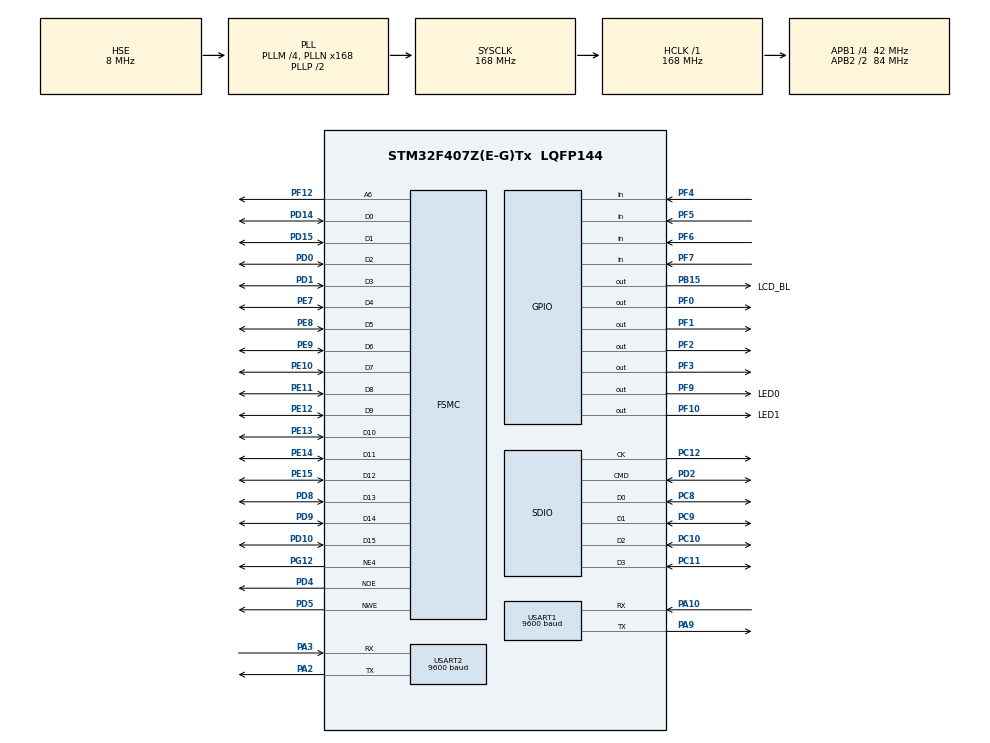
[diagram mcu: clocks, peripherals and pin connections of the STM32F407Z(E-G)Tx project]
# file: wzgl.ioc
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Dma.Request0=SDIO_RX
Dma.Request1=SDIO_TX
Dma.SDIO_RX.0.Direction=DMA_PERIPH_TO_MEMORY
Dma.SDIO_RX.0.FIFOMode=DMA_FIFOMODE_ENABLE
Dma.SDIO_RX.0.FIFOThreshold=DMA_FIFO_THRESHOLD_FULL
Dma.SDIO_RX.0.Instance=DMA2_Stream3
Dma.SDIO_RX.0.MemBurst=DMA_MBURST_SINGLE
Dma.SDIO_RX.0.MemDataAlignment=DMA_MDATAALIGN_BYTE
Dma.SDIO_RX.0.MemInc=DMA_MINC_ENABLE
Dma.SDIO_RX.0.Mode=DMA_PFCTRL
Dma.SDIO_RX.0.PeriphBurst=DMA_PBURST_INC4
Dma.SDIO_RX.0.PeriphDataAlignment=DMA_PDATAALIGN_WORD
Dma.SDIO_RX.0.PeriphInc=DMA_PINC_DISABLE
Dma.SDIO_RX.0.Priority=DMA_PRIORITY_LOW
Dma.SDIO_TX.1.Direction=DMA_MEMORY_TO_PERIPH
Dma.SDIO_TX.1.FIFOMode=DMA_FIFOMODE_ENABLE
Dma.SDIO_TX.1.FIFOThreshold=DMA_FIFO_THRESHOLD_FULL
Dma.SDIO_TX.1.Instance=DMA2_Stream6
Dma.SDIO_TX.1.MemBurst=DMA_MBURST_SINGLE
Dma.SDIO_TX.1.MemDataAlignment=DMA_MDATAALIGN_BYTE
Dma.SDIO_TX.1.MemInc=DMA_MINC_ENABLE
Dma.SDIO_TX.1.Mode=DMA_PFCTRL
Dma.SDIO_TX.1.PeriphBurst=DMA_PBURST_INC4
Dma.SDIO_TX.1.PeriphDataAlignment=DMA_PDATAALIGN_WORD
Dma.SDIO_TX.1.PeriphInc=DMA_PINC_DISABLE
Dma.SDIO_TX.1.Priority=DMA_PRIORITY_LOW
FATFS.USE_DMA_CODE_SD=1
FATFS._CODE_PAGE=936
FATFS._USE_LFN=3
FSMC.BusTurnAroundDuration1=0
FSMC.DataSetupTime1=60
FSMC.ExtendedAddressSetupTime1=9
FSMC.ExtendedBusTurnAroundDuration1=0
FSMC.ExtendedDataSetupTime1=8
FSMC.ExtendedMode1=FSMC_EXTENDED_MODE_ENABLE
Mcu.Family=STM32F4
Mcu.Name=STM32F407Z(E-G)Tx
Mcu.Package=LQFP144
NVIC.DMA2_Stream3_IRQn=true\:1\:0\:true\:false\:true\:false\:true\:true
NVIC.DMA2_Stream6_IRQn=true\:1\:0\:true\:false\:true\:false\:true\:true
NVIC.PriorityGroup=NVIC_PRIORITYGROUP_2
NVIC.USART1_IRQn=true\:2\:2\:true\:false\:true\:true\:true\:true
NVIC.USART2_IRQn=true\:2\:2\:true\:false\:true\:true\:true\:true
PA10.Mode=Asynchronous
PA10.Signal=USART1_RX
PA13.Mode=Serial_Wire
PA13.Signal=SYS_JTMS-SWDIO
PA14.Mode=Serial_Wire
PA14.Signal=SYS_JTCK-SWCLK
PA2.Mode=Asynchronous
PA2.Signal=USART2_TX
PA3.Mode=Asynchronous
PA3.Signal=USART2_RX
PA9.Mode=Asynchronous
PA9.Signal=USART1_TX
PB15.GPIO_Label=LCD_BL
PB15.GPIO_PuPd=GPIO_PULLUP
PB15.GPIO_Speed=GPIO_SPEED_FREQ_HIGH
PB15.Signal=GPIO_Output
PC10.Mode=SD_4_bits_Wide_bus
PC10.Signal=SDIO_D2
PC11.Mode=SD_4_bits_Wide_bus
PC11.Signal=SDIO_D3
PC12.Mode=SD_4_bits_Wide_bus
PC12.Signal=SDIO_CK
PC8.Mode=SD_4_bits_Wide_bus
PC8.Signal=SDIO_D0
PC9.Mode=SD_4_bits_Wide_bus
PC9.Signal=SDIO_D1
PD0.Signal=FSMC_D2_DA2
PD1.Signal=FSMC_D3_DA3
PD10.Signal=FSMC_D15_DA15
PD14.Signal=FSMC_D0_DA0
PD15.Signal=FSMC_D1_DA1
PD2.Mode=SD_4_bits_Wide_bus
PD2.Signal=SDIO_CMD
PD4.Signal=FSMC_NOE
PD5.Signal=FSMC_NWE
PD8.Signal=FSMC_D13_DA13
PD9.Signal=FSMC_D14_DA14
PE10.Signal=FSMC_D7_DA7
PE11.Signal=FSMC_D8_DA8
PE12.Signal=FSMC_D9_DA9
PE13.Signal=FSMC_D10_DA10
PE14.Signal=FSMC_D11_DA11
PE15.Signal=FSMC_D12_DA12
PE7.Signal=FSMC_D4_DA4
PE8.Signal=FSMC_D5_DA5
PE9.Signal=FSMC_D6_DA6
PF0.GPIO_ModeDefaultOutputPP=GPIO_MODE_OUTPUT_PP
PF0.Signal=GPIO_Output
PF1.Signal=GPIO_Output
PF10.GPIO_Label=LED1
PF10.PinState=GPIO_PIN_SET
PF10.Signal=GPIO_Output
PF12.Signal=FSMC_A6
PF2.Signal=GPIO_Output
PF3.Signal=GPIO_Output
PF4.GPIO_PuPd=GPIO_PULLDOWN
PF4.Signal=GPIO_Input
PF5.GPIO_PuPd=GPIO_PULLDOWN
PF5.Signal=GPIO_Input
PF6.GPIO_PuPd=GPIO_PULLDOWN
PF6.Signal=GPIO_Input
PF7.GPIO_PuPd=GPIO_PULLDOWN
PF7.Signal=GPIO_Input
PF9.GPIO_Label=LED0
PF9.PinState=GPIO_PIN_SET
PF9.Signal=GPIO_Output
PG12.Mode=NorPsramChipSelect4_1
PG12.Signal=FSMC_NE4
PH0-OSC_IN.Mode=HSE-External-Oscillator
PH0-OSC_IN.Signal=RCC_OSC_IN
PH1-OSC_OUT.Mode=HSE-External-Oscillator
PH1-OSC_OUT.Signal=RCC_OSC_OUT
ProjectManager.HeapSize=0x800
ProjectManager.StackSize=0x400
ProjectManager.TargetToolchain=MDK-ARM V5.32
RCC.48MHZClocksFreq_Value=48000000
RCC.AHBFreq_Value=168000000
RCC.APB1CLKDivider=RCC_HCLK_DIV4
RCC.APB1Freq_Value=42000000
RCC.APB1TimFreq_Value=84000000
RCC.APB2CLKDivider=RCC_HCLK_DIV2
RCC.APB2Freq_Value=84000000
RCC.APB2TimFreq_Value=168000000
RCC.CortexFreq_Value=168000000
RCC.HCLKFreq_Value=168000000
RCC.HSE_VALUE=8000000
RCC.HSI_VALUE=16000000
RCC.LSE_VALUE=32768
RCC.PLLM=4
RCC.PLLN=168
RCC.PLLQ=7
RCC.PLLSourceVirtual=RCC_PLLSOURCE_HSE
RCC.SYSCLKFreq_VALUE=168000000
RCC.SYSCLKSource=RCC_SYSCLKSOURCE_PLLCLK
RCC.VCOOutputFreq_Value=336000000
SH.FSMC_A6.0=FSMC_A6,A6_1
SH.FSMC_D0_DA0.0=FSMC_D0,16b-d1
SH.FSMC_D10_DA10.0=FSMC_D10,16b-d1
SH.FSMC_D11_DA11.0=FSMC_D11,16b-d1
SH.FSMC_D12_DA12.0=FSMC_D12,16b-d1
SH.FSMC_D13_DA13.0=FSMC_D13,16b-d1
SH.FSMC_D14_DA14.0=FSMC_D14,16b-d1
SH.FSMC_D15_DA15.0=FSMC_D15,16b-d1
SH.FSMC_D1_DA1.0=FSMC_D1,16b-d1
SH.FSMC_D2_DA2.0=FSMC_D2,16b-d1
SH.FSMC_D3_DA3.0=FSMC_D3,16b-d1
SH.FSMC_D4_DA4.0=FSMC_D4,16b-d1
SH.FSMC_D5_DA5.0=FSMC_D5,16b-d1
SH.FSMC_D6_DA6.0=FSMC_D6,16b-d1
SH.FSMC_D7_DA7.0=FSMC_D7,16b-d1
SH.FSMC_D8_DA8.0=FSMC_D8,16b-d1
SH.FSMC_D9_DA9.0=FSMC_D9,16b-d1
SH.FSMC_NOE.0=FSMC_NOE,Lcd1
SH.FSMC_NWE.0=FSMC_NWE,Lcd1
USART1.BaudRate=9600
USART1.VirtualMode=VM_ASYNC
USART2.BaudRate=9600
USART2.VirtualMode=VM_ASYNC
VP_FATFS_VS_SDIO.Mode=SDIO
board=custom

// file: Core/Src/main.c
/* USER CODE BEGIN Header */
/**
  ******************************************************************************
  * @file           : main.c
  * @brief          : Main program body
  ******************************************************************************
  * @attention
  *
  * Copyright (c) 2022 STMicroelectronics.
  * All rights reserved.
  *
  * This software is licensed under terms that can be found in the LICENSE file
  * in the root directory of this software component.
  * If no LICENSE file comes with this software, it is provided AS-IS.
  *
  ******************************************************************************
  */
/* USER CODE END Header */
#include "main.h"
#include "dma.h"
#include "fatfs.h"
#include "sdio.h"
#include "usart.h"
#include "gpio.h"
#include "fsmc.h"

/* USER CODE BEGIN Includes */

#include "key.h"
#include "lcd.h"
#include "rfid.h"
/* USER CODE END Includes */

/* USER CODE BEGIN PD */
//格式化文件系统时使用
BYTE work[_MAX_SS];
u8 wBuff[512];
char id_number[200][10];
char filename_id[]="成员信息.csv";
char filename_yy[]="运营组物资.csv";
char filename_dk[]="电控组物资.csv";
char filename_sj[]="视觉组物资.csv";
char filename_jx[]="机械组物资.csv";
char filename_fk[]="飞控组物资.csv";

struct WZ Yy_Wz[500];
struct WZ Fk_Wz[500];
struct WZ Sj_Wz[500];
struct WZ Dk_Wz[500];
struct WZ Jx_Wz[500];

char card_id[10]="8203191207";

/* USER CODE END PD */

void SystemClock_Config(void);

int main(void)
{

  /* MCU Configuration--------------------------------------------------------*/

  /* Reset of all peripherals, Initializes the Flash interface and the Systick. */
  HAL_Init();

  /* Configure the system clock */
  SystemClock_Config();

  /* Initialize all configured peripherals */
  MX_GPIO_Init();
  MX_DMA_Init();
  MX_FSMC_Init();
  MX_USART1_UART_Init();
  MX_USART2_UART_Init();
  MX_SDIO_SD_Init();
  MX_FATFS_Init();
  /* USER CODE BEGIN 2 */
 	LCD_Init();           			//初始化LCD FSMC接口
	POINT_COLOR=WHITE;     			//画笔颜色：白色
	LCD_Clear(BLACK);

	LCD_ShowLine(1,"Loading......");//加载提示

	//挂载文件系统
	retSD=f_mount(&SDFatFS,SDPath,1);
	switch (retSD)
  {
  	case FR_NO_FILESYSTEM:
			{
				retSD=f_mkfs(SDPath,FM_FAT32,512,work,sizeof work);
				if(FR_OK!=retSD)
					LCD_ShowLine(2,"No File System");
			}
  		break;
  	case FR_OK:LCD_ShowLine(2,"Sd Card Load Ok");
  		break;
  	default:LCD_ShowLine(2,"Sd Card Error");
  		break;
  }
	//加载ID信息
	Load_Id();
	//加载物资信息
	Load_Data(Yy_Wz,filename_yy);
	Load_Data(Fk_Wz,filename_fk);
	Load_Data(Sj_Wz,filename_sj);
	Load_Data(Dk_Wz,filename_dk);
	Load_Data(Jx_Wz,filename_jx);

	sprintf((char *)wBuff,"%.10s",id_number[1]);
	LCD_ShowLine(5,wBuff);

	sprintf((char *)wBuff,"%.8s",Yy_Wz[1].id);
	LCD_ShowLine(6,wBuff);

	HAL_Delay(1000);

	/*
	sprintf((char *)wBuff,"%s","hello world\n");
	retSD=f_write(&SDFile,wBuff,strlen((const char *)wBuff),&numRW);
	if(FR_OK!=retSD)
			LCD_ShowString(30,80,210,24,12,"success write");

	f_close(&SDFile);

*/

	/*
	//处理数据
	while(rBuff[point]!=0x0a)point++;
	point++;
	line++;

	while(rBuff[point]!=0x00)
	{
		//读取id
		for(i=0;i<8;i++)
		{
			wz[line].id[i]=rBuff[point];
			point++;
		}
		point++;//跳过逗号
		//读取name
		i=0;
		while(rBuff[point]!=0x0a)
		{
			if(rBuff[point]!=0x0d)
				wz[line].name[i]=rBuff[point];
			point++;
		}
		point++;
		line++;
	}
*/

  /* USER CODE END 2 */

  /* Infinite loop */
  /* USER CODE BEGIN WHILE */
  while (1)
  {
		main_page();

		/*
		status = ReadId(card_id);  //读卡号
		if(!status)
			LCD_ShowLine(7,card_id);

		HAL_Delay(200);
		status = ReadDataFromBlock(card_blockdata,2);
		HAL_Delay(200);
		*/
		/*
		uint8_t KeyValue=0;
		KeyValue=JzKey();
		if(KeyValue)
		{
			LCD_Clear(BLACK);
			LCD_ShowxNum(30,40,KeyValue,2,24,1);
		}
		*/
/*
		u8 message[9];
		u8 i;
		for(i=0;i<9;i++)
		{
			message[i]=getchar();
		}

		LCD_Clear(BLACK);
		LCD_ShowString(30,40,210,24,12,message);

*/
    /* USER CODE END WHILE */

  }
}

void SystemClock_Config(void)
{
  RCC_OscInitTypeDef RCC_OscInitStruct = {0};
  RCC_ClkInitTypeDef RCC_ClkInitStruct = {0};

  /** Configure the main internal regulator output voltage
  */
  __HAL_RCC_PWR_CLK_ENABLE();
  __HAL_PWR_VOLTAGESCALING_CONFIG(PWR_REGULATOR_VOLTAGE_SCALE1);

  /** Initializes the RCC Oscillators according to the specified parameters
  * in the RCC_OscInitTypeDef structure.
  */
  RCC_OscInitStruct.OscillatorType = RCC_OSCILLATORTYPE_HSE;
  RCC_OscInitStruct.HSEState = RCC_HSE_ON;
  RCC_OscInitStruct.PLL.PLLState = RCC_PLL_ON;
  RCC_OscInitStruct.PLL.PLLSource = RCC_PLLSOURCE_HSE;
  RCC_OscInitStruct.PLL.PLLM = 4;
  RCC_OscInitStruct.PLL.PLLN = 168;
  RCC_OscInitStruct.PLL.PLLP = RCC_PLLP_DIV2;
  RCC_OscInitStruct.PLL.PLLQ = 7;
  if (HAL_RCC_OscConfig(&RCC_OscInitStruct) != HAL_OK)
  {
    Error_Handler();
  }

  /** Initializes the CPU, AHB and APB buses clocks
  */
  RCC_ClkInitStruct.ClockType = RCC_CLOCKTYPE_HCLK|RCC_CLOCKTYPE_SYSCLK
                              |RCC_CLOCKTYPE_PCLK1|RCC_CLOCKTYPE_PCLK2;
  RCC_ClkInitStruct.SYSCLKSource = RCC_SYSCLKSOURCE_PLLCLK;
  RCC_ClkInitStruct.AHBCLKDivider = RCC_SYSCLK_DIV1;
  RCC_ClkInitStruct.APB1CLKDivider = RCC_HCLK_DIV4;
  RCC_ClkInitStruct.APB2CLKDivider = RCC_HCLK_DIV2;

  if (HAL_RCC_ClockConfig(&RCC_ClkInitStruct, FLASH_LATENCY_5) != HAL_OK)
  {
    Error_Handler();
  }
}

/* USER CODE BEGIN 4 */
void HAL_Delay_us(uint32_t us)
{
    HAL_SYSTICK_Config(HAL_RCC_GetHCLKFreq()/1000000);
    HAL_Delay(us-1);
    HAL_SYSTICK_Config(HAL_RCC_GetHCLKFreq()/1000);
}

void Load_Id()
{
	char rBuff[1024];//读取数据暂存
	u16 point=0;
	u16 line=0;
	u8 i;
	//打开文件
	retSD=f_open(&SDFile,filename_id,FA_OPEN_EXISTING|FA_READ);
	if(FR_OK==retSD)
			LCD_ShowLine(3,"Open Id Successfully");
	else LCD_ShowLine(3,"Open Id Error");
	//第一行数据舍弃
	f_gets(rBuff,1024,&SDFile);
	//读取一行数据
	while(f_gets(rBuff,1024,&SDFile)!=0)
	{
		point=0;
		while(rBuff[point]!=',')point++;
		point++;

		//读取校园卡卡号
		for(i=0;i<10;i++)
		{
			id_number[line][i]=rBuff[point];
			point++;
		}
		line++;
	}
	//关闭文件
	f_close(&SDFile);
}

void Load_Data(struct WZ * wz, char * filename)
{
	char rBuff[1024];//读取数据暂存
	u16 point=0;
	u16 line=0;
	u8 i;
	//打开文件
	retSD=f_open(&SDFile,filename,FA_OPEN_EXISTING|FA_READ);
	if(FR_OK==retSD)
			LCD_ShowLine(4,"Open Data Successfully");
	else LCD_ShowLine(4,"Open Data Error");
	//第一行数据舍弃
	f_gets(rBuff,1024,&SDFile);
	//读取一行数据
	while(f_gets(rBuff,1024,&SDFile)!=0)
	{
		point=0;
		//读取标签编号
		for(i=0;i<8;i++)
		{
			wz[line].id[i]=rBuff[point];
			point++;
		}
		point++;
		while(rBuff[point]!=',')point++;
		point++;
		if(rBuff[point])//已经借出了
		{
			wz[line].jie=1;
			point+=2;
			for(i=0;i<10;i++)
			{
				wz[line].jie_id[i]=rBuff[point];
				point++;
			}
		}
		else wz[line].jie=0;
		line++;
	}
	//关闭文件
	f_close(&SDFile);
}

void main_page()
{
	u8 key;
	LCD_Clear(BLACK);
	LCD_ShowLine(1,"Press 'A' to borrow");
	LCD_ShowLine(2,"Press 'B' to return");
	LCD_ShowLine(3,"Press 'C' to query items");
	while(1)
	{
		key=JzKey();
		switch (key)
    {
    	case 4://borrow
				if(read_id())
				{
					LCD_Clear(BLACK);
					LCD_ShowLine(1,"Welcome");
					HAL_Delay(3000);
					return;
				}
				else
				{
					LCD_Clear(BLACK);
					LCD_ShowLine(1,"No permission");
					HAL_Delay(3000);
					return;
				}
    	case 8:break;
			case 12:break;
    }
	}
}

u8 read_id()
{
	u8 i;
	//将卡号读入全局变量中...
	for(i=0;i<200;i++)
		if(!strcmp(id_number[i], card_id))return 1;//存在相同的学号
	return 0;//没有该学号
}

/* USER CODE END 4 */

void Error_Handler(void)
{
  __disable_irq();
  while (1)
  {
  }
}
